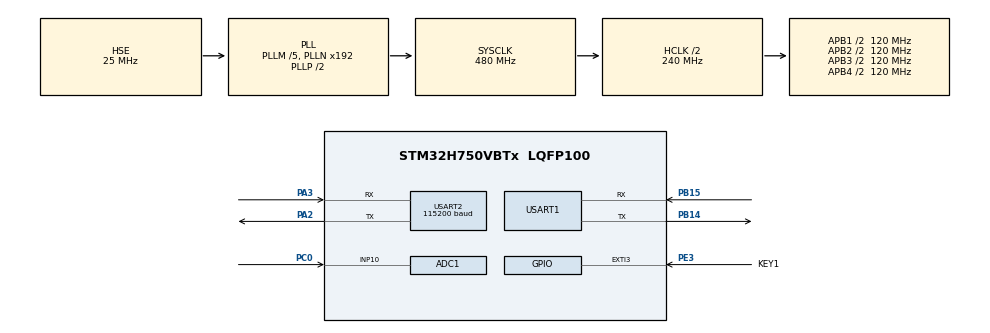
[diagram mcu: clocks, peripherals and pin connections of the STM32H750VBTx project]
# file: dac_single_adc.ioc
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ADC1.Channel-0\#ChannelRegularConversion=ADC_CHANNEL_10
ADC1.ConversionDataManagement=ADC_CONVERSIONDATA_DMA_CIRCULAR
ADC1.ExternalTrigConv=ADC_EXTERNALTRIG_T15_TRGO
ADC1.NbrOfConversionFlag=1
ADC1.OffsetNumber-0\#ChannelRegularConversion=ADC_OFFSET_NONE
ADC1.OffsetSignedSaturation-0\#ChannelRegularConversion=DISABLE
ADC1.Rank-0\#ChannelRegularConversion=1
ADC1.SamplingTime-0\#ChannelRegularConversion=ADC_SAMPLETIME_1CYCLE_5
ADC1.master=1
CORTEX_M7.AccessPermission-Cortex_Memory_Protection_Unit_Region0_Settings=MPU_REGION_FULL_ACCESS
CORTEX_M7.AccessPermission-Cortex_Memory_Protection_Unit_Region1_Settings=MPU_REGION_FULL_ACCESS
CORTEX_M7.AccessPermission-Cortex_Memory_Protection_Unit_Region2_Settings=MPU_REGION_FULL_ACCESS
CORTEX_M7.AccessPermission-Cortex_Memory_Protection_Unit_Region3_Settings=MPU_REGION_FULL_ACCESS
CORTEX_M7.AccessPermission-Cortex_Memory_Protection_Unit_Region4_Settings=MPU_REGION_FULL_ACCESS
CORTEX_M7.BaseAddress-Cortex_Memory_Protection_Unit_Region0_Settings=0x24000000
CORTEX_M7.BaseAddress-Cortex_Memory_Protection_Unit_Region1_Settings=0x30000000
CORTEX_M7.BaseAddress-Cortex_Memory_Protection_Unit_Region2_Settings=0x30020000
CORTEX_M7.BaseAddress-Cortex_Memory_Protection_Unit_Region3_Settings=0x30040000
CORTEX_M7.BaseAddress-Cortex_Memory_Protection_Unit_Region4_Settings=0x38000000
CORTEX_M7.CPU_DCache=Enabled
CORTEX_M7.CPU_ICache=Enabled
CORTEX_M7.Enable-Cortex_Memory_Protection_Unit_Region0_Settings=MPU_REGION_ENABLE
CORTEX_M7.Enable-Cortex_Memory_Protection_Unit_Region1_Settings=MPU_REGION_ENABLE
CORTEX_M7.Enable-Cortex_Memory_Protection_Unit_Region2_Settings=MPU_REGION_ENABLE
CORTEX_M7.Enable-Cortex_Memory_Protection_Unit_Region3_Settings=MPU_REGION_ENABLE
CORTEX_M7.Enable-Cortex_Memory_Protection_Unit_Region4_Settings=MPU_REGION_ENABLE
CORTEX_M7.IsBufferable-Cortex_Memory_Protection_Unit_Region0_Settings=MPU_ACCESS_BUFFERABLE
CORTEX_M7.IsCacheable-Cortex_Memory_Protection_Unit_Region0_Settings=MPU_ACCESS_CACHEABLE
CORTEX_M7.MPU_Control=MPU_PRIVILEGED_DEFAULT
CORTEX_M7.Size-Cortex_Memory_Protection_Unit_Region0_Settings=MPU_REGION_SIZE_512KB
CORTEX_M7.Size-Cortex_Memory_Protection_Unit_Region1_Settings=MPU_REGION_SIZE_128KB
CORTEX_M7.Size-Cortex_Memory_Protection_Unit_Region2_Settings=MPU_REGION_SIZE_128KB
CORTEX_M7.Size-Cortex_Memory_Protection_Unit_Region3_Settings=MPU_REGION_SIZE_32KB
CORTEX_M7.Size-Cortex_Memory_Protection_Unit_Region4_Settings=MPU_REGION_SIZE_64KB
CORTEX_M7.TypeExtField-Cortex_Memory_Protection_Unit_Region0_Settings=MPU_TEX_LEVEL1
CORTEX_M7.TypeExtField-Cortex_Memory_Protection_Unit_Region1_Settings=MPU_TEX_LEVEL1
CORTEX_M7.TypeExtField-Cortex_Memory_Protection_Unit_Region2_Settings=MPU_TEX_LEVEL1
CORTEX_M7.TypeExtField-Cortex_Memory_Protection_Unit_Region3_Settings=MPU_TEX_LEVEL1
CORTEX_M7.TypeExtField-Cortex_Memory_Protection_Unit_Region4_Settings=MPU_TEX_LEVEL1
Dma.ADC1.0.Direction=DMA_PERIPH_TO_MEMORY
Dma.ADC1.0.EventEnable=DISABLE
Dma.ADC1.0.FIFOMode=DMA_FIFOMODE_DISABLE
Dma.ADC1.0.Instance=DMA1_Stream0
Dma.ADC1.0.MemDataAlignment=DMA_MDATAALIGN_HALFWORD
Dma.ADC1.0.MemInc=DMA_MINC_ENABLE
Dma.ADC1.0.Mode=DMA_NORMAL
Dma.ADC1.0.PeriphDataAlignment=DMA_PDATAALIGN_HALFWORD
Dma.ADC1.0.PeriphInc=DMA_PINC_DISABLE
Dma.ADC1.0.Polarity=HAL_DMAMUX_REQ_GEN_RISING
Dma.ADC1.0.Priority=DMA_PRIORITY_LOW
Dma.ADC1.0.RequestNumber=1
Dma.ADC1.0.SignalID=NONE
Dma.ADC1.0.SyncEnable=DISABLE
Dma.ADC1.0.SyncPolarity=HAL_DMAMUX_SYNC_NO_EVENT
Dma.ADC1.0.SyncRequestNumber=1
Dma.ADC1.0.SyncSignalID=NONE
Dma.Request0=ADC1
Mcu.Family=STM32H7
Mcu.Name=STM32H750VBTx
Mcu.Package=LQFP100
NVIC.DMA1_Stream0_IRQn=true\:0\:0\:false\:false\:true\:false\:true\:true
NVIC.EXTI3_IRQn=true\:0\:0\:false\:false\:true\:true\:true\:true
NVIC.PriorityGroup=NVIC_PRIORITYGROUP_4
NVIC.USART2_IRQn=true\:0\:0\:false\:false\:true\:true\:true\:true
PA13\ (JTMS/SWDIO).Mode=Serial_Wire
PA13\ (JTMS/SWDIO).Signal=DEBUG_JTMS-SWDIO
PA14\ (JTCK/SWCLK).Mode=Serial_Wire
PA14\ (JTCK/SWCLK).Signal=DEBUG_JTCK-SWCLK
PA2.Mode=Asynchronous
PA2.Signal=USART2_TX
PA3.Mode=Asynchronous
PA3.Signal=USART2_RX
PB14.Mode=Asynchronous
PB14.Signal=USART1_TX
PB15.Mode=Asynchronous
PB15.Signal=USART1_RX
PC0.Signal=ADCx_INP10
PE3.GPIO_Label=KEY1
PE3.GPIO_ModeDefaultEXTI=GPIO_MODE_IT_FALLING
PE3.GPIO_PuPd=GPIO_PULLUP
PE3.Signal=GPXTI3
PH0-OSC_IN\ (PH0).Mode=HSE-External-Oscillator
PH0-OSC_IN\ (PH0).Signal=RCC_OSC_IN
PH1-OSC_OUT\ (PH1).Mode=HSE-External-Oscillator
PH1-OSC_OUT\ (PH1).Signal=RCC_OSC_OUT
ProjectManager.HeapSize=0x200
ProjectManager.StackSize=0x7400
ProjectManager.TargetToolchain=MDK-ARM V5.32
RCC.ADCFreq_Value=72000000
RCC.APB1Freq_Value=120000000
RCC.APB2Freq_Value=120000000
RCC.APB3Freq_Value=120000000
RCC.APB4Freq_Value=120000000
RCC.CortexFreq_Value=480000000
RCC.D1PPRE=RCC_APB3_DIV2
RCC.D2PPRE1=RCC_APB1_DIV2
RCC.D2PPRE2=RCC_APB2_DIV2
RCC.D3PPRE=RCC_APB4_DIV2
RCC.DIVM1=5
RCC.DIVM2=25
RCC.DIVN1=192
RCC.DIVN2=360
RCC.DIVP2=5
RCC.HCLKFreq_Value=240000000
RCC.HPRE=RCC_HCLK_DIV2
RCC.PLLSourceVirtual=RCC_PLLSOURCE_HSE
RCC.ProductRev=revV
RCC.SYSCLKFreq_VALUE=480000000
RCC.SYSCLKSource=RCC_SYSCLKSOURCE_PLLCLK
RCC.USBFreq_Value=480000000
SH.ADCx_INP10.0=ADC1_INP10,IN10-Single-Ended
TIM15.Period=80-1
TIM15.Prescaler=1-1
TIM15.TIM_MasterOutputTrigger=TIM_TRGO_UPDATE
TIM7.Prescaler=239
USART1.VirtualMode-Asynchronous=VM_ASYNC
USART2.BaudRate=115200
USART2.VirtualMode-Asynchronous=VM_ASYNC
VP_TIM15_VS_ClockSourceINT.Mode=Internal
VP_TIM7_VS_ClockSourceINT.Mode=Enable_Timer
board=custom

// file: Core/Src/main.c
/* USER CODE BEGIN Header */
/**
  ******************************************************************************
  * @file           : main.c
  * @brief          : Main program body
  ******************************************************************************
  * @attention
  *
  * Copyright (c) 2023 STMicroelectronics.
  * All rights reserved.
  *
  * This software is licensed under terms that can be found in the LICENSE file
  * in the root directory of this software component.
  * If no LICENSE file comes with this software, it is provided AS-IS.
  *
  ******************************************************************************
  */
/* USER CODE END Header */
#include "main.h"
#include "adc.h"
#include "dma.h"
#include "tim.h"
#include "usart.h"
#include "gpio.h"

/* USER CODE BEGIN PTD */
ALIGN_32BYTES (uint16_t adc1_data[FFT_LENGTH]) 	__attribute__((section(".ARM.__at_0x30000000")));
__IO uint8_t AdcConvEnd = 0;//��ʾadc�ɼ����
unsigned char buffer[50];
uint8_t KEY_state=0;

void adc_init(void)
{
	printf("start_adc");
	MX_ADC1_Init();	//��ʼ�����÷�����, ȷ����MX_DMA_Init()��ʼ�����
//	TIM15->PSC =5-1;
	HAL_Delay(100);	//�еط�˵������Եȵȵ�ѹ�ȶ�����У׼
	if (HAL_ADCEx_Calibration_Start(&hadc1, ADC_CALIB_OFFSET, ADC_SINGLE_ENDED) != HAL_OK)
	{
			printf("hadc1 error with HAL_ADCEx_Calibration_Start\r\n");
			Error_Handler();
	}

	if (HAL_ADC_Start_DMA(&hadc1, (uint32_t *)adc1_data, FFT_LENGTH) != HAL_OK)
	{
			printf("hadc1 error with HAL_ADC_Start_DMA\r\n");
			Error_Handler();
	}

	HAL_TIM_Base_Start(&htim15);
	while (!AdcConvEnd);
	AdcConvEnd = 0;
	HAL_ADC_DeInit(&hadc1);			//���ʼ��
	HAL_TIM_Base_Stop(&htim15);
}

/* USER CODE END PTD */

void SystemClock_Config(void);
static void MPU_Initialize(void);
static void MPU_Config(void);

/* USER CODE BEGIN 0 */

uint8_t RX_dat = 0;

void HAL_UART_RxCpltCallback(UART_HandleTypeDef *huart)//串口中断服务函数
{
    if(huart->Instance == USART2)//判断是否为串�?1
    {
        if(huart->Instance == USART2)
         {
            if(RX_dat == 'a')//接收到字符a
            {
						HAL_UART_Transmit(&huart2,&RX_dat,1,100);
            HAL_UART_Receive_IT(&huart2,&RX_dat,1);//每次接收以后都要再次�?启接收中�?
            }
       }
    }
}

/* USER CODE END 0 */

int main(void)
{

  /* Enable I-Cache---------------------------------------------------------*/
  SCB_EnableICache();

  /* Enable D-Cache---------------------------------------------------------*/
  SCB_EnableDCache();

  /* MCU Configuration--------------------------------------------------------*/

  /* Reset of all peripherals, Initializes the Flash interface and the Systick. */
  HAL_Init();

  /* MPU Configuration--------------------------------------------------------*/
  MPU_Config();

  /* Configure the system clock */
  SystemClock_Config();

  /* Initialize all configured peripherals */
  MX_GPIO_Init();
  MX_DMA_Init();
  MX_USART1_UART_Init();
  MX_ADC1_Init();
  MX_TIM7_Init();
  MX_TIM15_Init();
  MX_USART2_UART_Init();
  /* USER CODE BEGIN 2 */
	printf("start\n");
	HAL_UART_Receive_IT(&huart2,&RX_dat,1);//�?启接收中�?
  /* USER CODE END 2 */

  /* Infinite loop */
  while (1)
  {

    /* USER CODE BEGIN 3 */
		if(KEY_state==1)
		{
			KEY_state=0;
			adc_init();
			u32 voltage_ = 0;
//			for (u16 temp = 0 ;temp < 300 ;temp++)
//			{
//				voltage_ = adc1_data[temp]*200/65536;
//				printf("add s0.id,0,%d\xff\xff\xff",voltage_);
//			}
			FFT_Init();
			FFT_DIS();
			printf("cle s0.id,0\xff\xff\xff");
			uint16_t	Point_period  =(uint16_t)(Fs/f[0]);
			for (uint16_t i = 0 ;i <= Point_period ;i++)
			{
				voltage_ = adc1_data[i]*200/65536;
				printf("add s0.id,0,%d\xff\xff\xff",voltage_);
				startValuePack(buffer);
				putFloat(temp);//THD
				putFloat(adc1_data[i]);//wave
				putFloat(U[0]);//V1
				putFloat(U[1]);
				putFloat(U[2]);
				putFloat(U[3]);
				putFloat(U[4]);//V5
				sendBuffer(buffer,endValuePack());
			}
//			printf("%d",Point_period);
//			u16 delti;
//			u16 point;
//			if(Point_period>200)
//			{
//				delti=Point_period/200;
//				point=0;
//			}
//			else {
//				point=200/Point_period;
//				delti=1;
//			}
//			for (uint16_t i = 0 ;i <= Point_period ;i=i+delti)
//			{
//				voltage_ = adc1_data[i]*200/65536;
//				for(u16 j=0;j<=point;j++)
//				{
//					printf("add s0.id,0,%d\xff\xff\xff",(voltage_+adc1_data[i-1]*200/65536)/2);
//				}
//				printf("add s0.id,0,%d\xff\xff\xff",voltage_);
//	printf("%d\r\n",adc1_data[temp]);
//			}
//			float voltage = 0;
//			for (u16 temp = 0 ;temp < FFT_LENGTH ;temp++)
//			{
//				voltage = adc1_data[temp]*3.3/65535;
//				printf("%f\r\n",voltage);
//		//		printf("%d\r\n",adc1_data[temp]);
//			}

		}

  }
  /* USER CODE END 3 */
}

void SystemClock_Config(void)
{
  RCC_OscInitTypeDef RCC_OscInitStruct = {0};
  RCC_ClkInitTypeDef RCC_ClkInitStruct = {0};

  /** Supply configuration update enable
  */
  HAL_PWREx_ConfigSupply(PWR_LDO_SUPPLY);

  /** Configure the main internal regulator output voltage
  */
  __HAL_PWR_VOLTAGESCALING_CONFIG(PWR_REGULATOR_VOLTAGE_SCALE1);

  while(!__HAL_PWR_GET_FLAG(PWR_FLAG_VOSRDY)) {}

  __HAL_RCC_SYSCFG_CLK_ENABLE();
  __HAL_PWR_VOLTAGESCALING_CONFIG(PWR_REGULATOR_VOLTAGE_SCALE0);

  while(!__HAL_PWR_GET_FLAG(PWR_FLAG_VOSRDY)) {}

  /** Initializes the RCC Oscillators according to the specified parameters
  * in the RCC_OscInitTypeDef structure.
  */
  RCC_OscInitStruct.OscillatorType = RCC_OSCILLATORTYPE_HSE;
  RCC_OscInitStruct.HSEState = RCC_HSE_ON;
  RCC_OscInitStruct.PLL.PLLState = RCC_PLL_ON;
  RCC_OscInitStruct.PLL.PLLSource = RCC_PLLSOURCE_HSE;
  RCC_OscInitStruct.PLL.PLLM = 5;
  RCC_OscInitStruct.PLL.PLLN = 192;
  RCC_OscInitStruct.PLL.PLLP = 2;
  RCC_OscInitStruct.PLL.PLLQ = 2;
  RCC_OscInitStruct.PLL.PLLR = 2;
  RCC_OscInitStruct.PLL.PLLRGE = RCC_PLL1VCIRANGE_2;
  RCC_OscInitStruct.PLL.PLLVCOSEL = RCC_PLL1VCOWIDE;
  RCC_OscInitStruct.PLL.PLLFRACN = 0;
  if (HAL_RCC_OscConfig(&RCC_OscInitStruct) != HAL_OK)
  {
    Error_Handler();
  }

  /** Initializes the CPU, AHB and APB buses clocks
  */
  RCC_ClkInitStruct.ClockType = RCC_CLOCKTYPE_HCLK|RCC_CLOCKTYPE_SYSCLK
                              |RCC_CLOCKTYPE_PCLK1|RCC_CLOCKTYPE_PCLK2
                              |RCC_CLOCKTYPE_D3PCLK1|RCC_CLOCKTYPE_D1PCLK1;
  RCC_ClkInitStruct.SYSCLKSource = RCC_SYSCLKSOURCE_PLLCLK;
  RCC_ClkInitStruct.SYSCLKDivider = RCC_SYSCLK_DIV1;
  RCC_ClkInitStruct.AHBCLKDivider = RCC_HCLK_DIV2;
  RCC_ClkInitStruct.APB3CLKDivider = RCC_APB3_DIV2;
  RCC_ClkInitStruct.APB1CLKDivider = RCC_APB1_DIV2;
  RCC_ClkInitStruct.APB2CLKDivider = RCC_APB2_DIV2;
  RCC_ClkInitStruct.APB4CLKDivider = RCC_APB4_DIV2;

  if (HAL_RCC_ClockConfig(&RCC_ClkInitStruct, FLASH_LATENCY_4) != HAL_OK)
  {
    Error_Handler();
  }
}

/* USER CODE BEGIN 4 */
//串口收到数据回调
void HAL_ADC_ConvCpltCallback(ADC_HandleTypeDef* hadc)
{
   if(hadc->Instance == ADC1)
	{
      //SCB_InvalidateDCache_by_Addr((uint32_t *) &adc1_data[0], ADC1_BUFFER_SIZE);
		AdcConvEnd = 1;
  }
}

void HAL_GPIO_EXTI_Callback(uint16_t GPIO_Pin)
{
	if(GPIO_Pin == KEY1_Pin)
	{
		KEY_state=1;
//		printf("KEY1press\n");
	}
}

/* USER CODE END 4 */

/* MPU Configuration */

void MPU_Config(void)
{
  MPU_Region_InitTypeDef MPU_InitStruct = {0};

  /* Disables the MPU */
  HAL_MPU_Disable();

  /** Initializes and configures the Region and the memory to be protected
  */
  MPU_InitStruct.Enable = MPU_REGION_ENABLE;
  MPU_InitStruct.Number = MPU_REGION_NUMBER0;
  MPU_InitStruct.BaseAddress = 0x24000000;
  MPU_InitStruct.Size = MPU_REGION_SIZE_512KB;
  MPU_InitStruct.SubRegionDisable = 0x0;
  MPU_InitStruct.TypeExtField = MPU_TEX_LEVEL1;
  MPU_InitStruct.AccessPermission = MPU_REGION_FULL_ACCESS;
  MPU_InitStruct.DisableExec = MPU_INSTRUCTION_ACCESS_ENABLE;
  MPU_InitStruct.IsShareable = MPU_ACCESS_NOT_SHAREABLE;
  MPU_InitStruct.IsCacheable = MPU_ACCESS_CACHEABLE;
  MPU_InitStruct.IsBufferable = MPU_ACCESS_BUFFERABLE;

  HAL_MPU_ConfigRegion(&MPU_InitStruct);

  /** Initializes and configures the Region and the memory to be protected
  */
  MPU_InitStruct.Number = MPU_REGION_NUMBER1;
  MPU_InitStruct.BaseAddress = 0x30000000;
  MPU_InitStruct.Size = MPU_REGION_SIZE_128KB;
  MPU_InitStruct.IsCacheable = MPU_ACCESS_NOT_CACHEABLE;
  MPU_InitStruct.IsBufferable = MPU_ACCESS_NOT_BUFFERABLE;

  HAL_MPU_ConfigRegion(&MPU_InitStruct);

  /** Initializes and configures the Region and the memory to be protected
  */
  MPU_InitStruct.Number = MPU_REGION_NUMBER2;
  MPU_InitStruct.BaseAddress = 0x30020000;

  HAL_MPU_ConfigRegion(&MPU_InitStruct);

  /** Initializes and configures the Region and the memory to be protected
  */
  MPU_InitStruct.Number = MPU_REGION_NUMBER3;
  MPU_InitStruct.BaseAddress = 0x30040000;
  MPU_InitStruct.Size = MPU_REGION_SIZE_32KB;

  HAL_MPU_ConfigRegion(&MPU_InitStruct);

  /** Initializes and configures the Region and the memory to be protected
  */
  MPU_InitStruct.Number = MPU_REGION_NUMBER4;
  MPU_InitStruct.BaseAddress = 0x38000000;
  MPU_InitStruct.Size = MPU_REGION_SIZE_64KB;

  HAL_MPU_ConfigRegion(&MPU_InitStruct);
  /* Enables the MPU */
  HAL_MPU_Enable(MPU_PRIVILEGED_DEFAULT);

}

void Error_Handler(void)
{
  __disable_irq();
  while (1)
  {
  }
}
